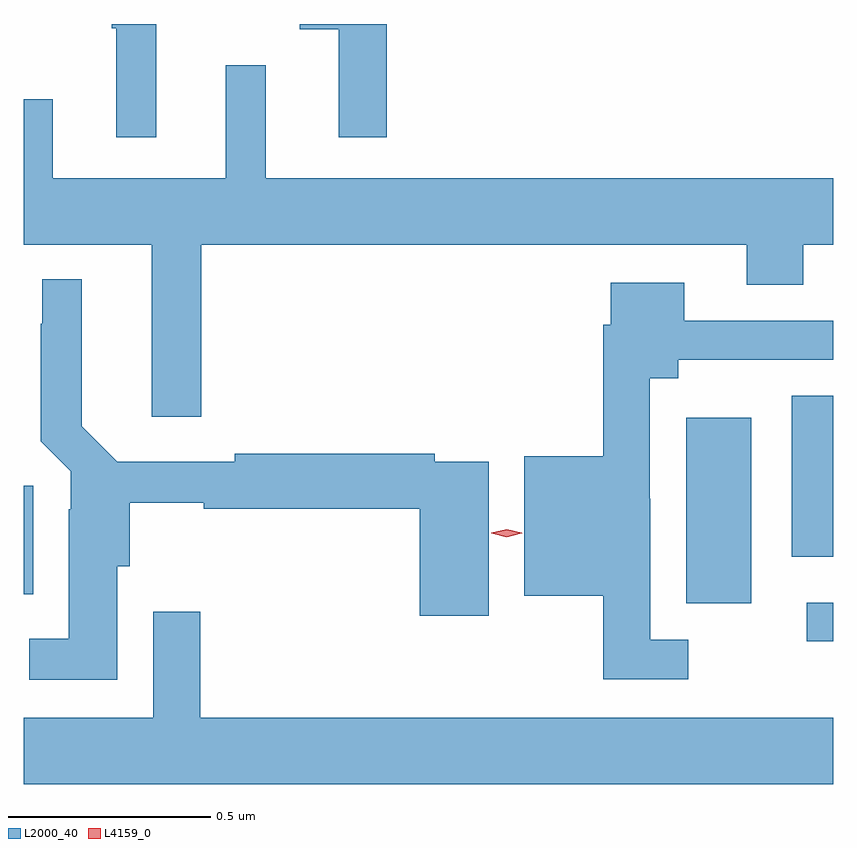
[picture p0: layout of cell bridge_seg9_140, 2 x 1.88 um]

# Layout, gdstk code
import gdstk
lib = gdstk.Library(unit=1e-6, precision=1e-09)
def R(c, l, rs):  # rectangles x0, y0, x1, y1
    for r in rs: c.add(gdstk.rectangle(r[:2], r[2:], *l))
def P(c, l, *ps):  # polygons
    for p in ps: c.add(gdstk.Polygon(p, *l))
L2000_40 = (2000, 40)
L4159_0 = (4159, 0)

bridge_seg9_140 = lib.new_cell('bridge_seg9_140')
R(bridge_seg9_140, L2000_40, [(437.571,1195.44,437.637,1195.536), (437.273,1195.535,437.434,1195.993), (435.637,1195.557,435.661,1195.825), (437.534,1195.649,437.637,1196.047)])
P(bridge_seg9_140, L2000_40, [(435.964,1196.965),(435.855,1196.965),(435.855,1196.955),(435.866,1196.955),(435.866,1196.685),(435.964,1196.685)],
  [(436.534,1196.965),(436.112,1196.965),(436.112,1196.964),(436.319,1196.964),(436.319,1196.952),(436.415,1196.952),(436.415,1196.685),(436.534,1196.685)],
  [(436.076,1196.42),(437.423,1196.42),(437.423,1196.321),(437.563,1196.321),(437.563,1196.42),(437.637,1196.42),(437.637,1196.584),(436.235,1196.584),(436.235,1196.863),(436.136,1196.863),(436.136,1196.584),(435.709,1196.584),(435.709,1196.779),(435.637,1196.779),(435.637,1196.42),(435.953,1196.42),(435.953,1195.995),(436.076,1195.995)],
  [(435.868,1195.626),(435.899,1195.626),(435.899,1195.783),(436.082,1195.783),(436.082,1195.768),(436.616,1195.768),(436.616,1195.503),(436.786,1195.503),(436.786,1195.884),(436.652,1195.884),(436.652,1195.904),(436.159,1195.904),(436.159,1195.884),(435.868,1195.884),(435.781,1195.972),(435.781,1196.335),(435.683,1196.335),(435.683,1196.225),(435.679,1196.225),(435.679,1195.934),(435.753,1195.86),(435.753,1195.766),(435.749,1195.766),(435.749,1195.447),(435.651,1195.447),(435.651,1195.346),(435.868,1195.346)],
  [(437.278,1195.444),(437.185,1195.444),(437.185,1195.793),(437.184,1195.793),(437.184,1196.09),(437.254,1196.09),(437.254,1196.136),(437.637,1196.136),(437.637,1196.232),(437.269,1196.232),(437.269,1196.326),(437.087,1196.326),(437.087,1196.222),(437.068,1196.222),(437.068,1195.897),(436.874,1195.897),(436.874,1195.553),(437.068,1195.553),(437.068,1195.347),(437.278,1195.347)],
  [(437.637,1195.252),(436.073,1195.252),(436.073,1195.513),(435.957,1195.513),(435.957,1195.252),(435.637,1195.252),(435.637,1195.088),(437.637,1195.088)])
P(bridge_seg9_140, L4159_0, [(436.83,1195.697),(436.792,1195.707),(436.792,1195.707),(436.792,1195.708),(436.83,1195.717),(436.867,1195.708),(436.868,1195.707),(436.867,1195.707)])

lib.write_gds('bridge_seg9_140.gds')
